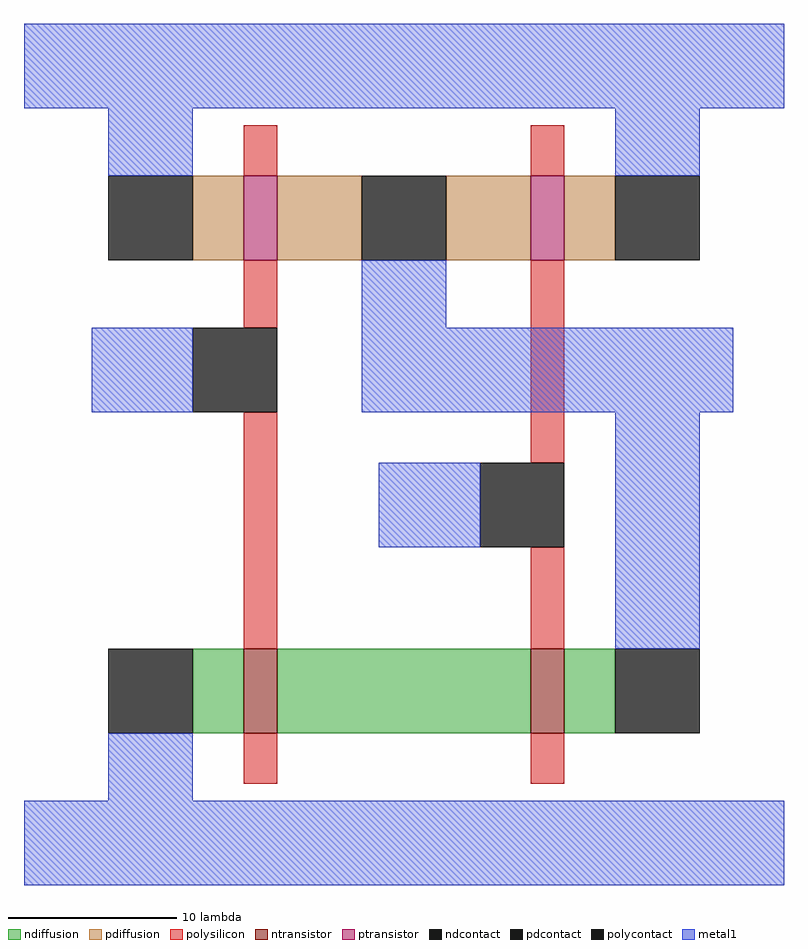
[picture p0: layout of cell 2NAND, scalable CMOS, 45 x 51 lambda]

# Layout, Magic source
magic
tech scmos
<< ntransistor >>
rect -6 -30 -4 -25
rect 11 -30 13 -25
<< ptransistor >>
rect -6 -2 -4 3
rect 11 -2 13 3
<< ndiffusion >>
rect -9 -30 -6 -25
rect -4 -30 11 -25
rect 13 -30 16 -25
<< pdiffusion >>
rect -9 -2 -6 3
rect -4 -2 1 3
rect 6 -2 11 3
rect 13 -2 16 3
<< ndcontact >>
rect -14 -30 -9 -25
rect 16 -30 21 -25
<< pdcontact >>
rect -14 -2 -9 3
rect 1 -2 6 3
rect 16 -2 21 3
<< polysilicon >>
rect -6 3 -4 6
rect 11 3 13 6
rect -6 -6 -4 -2
rect -6 -25 -4 -11
rect 11 -14 13 -2
rect 11 -25 13 -19
rect -6 -33 -4 -30
rect 11 -33 13 -30
<< polycontact >>
rect -9 -11 -4 -6
rect 8 -19 13 -14
<< metal1 >>
rect -19 7 26 12
rect -14 3 -9 7
rect 16 3 21 7
rect 1 -6 6 -2
rect -15 -11 -9 -6
rect 1 -11 23 -6
rect 2 -19 8 -14
rect 16 -25 21 -11
rect -14 -34 -9 -30
rect -19 -39 26 -34
<< end >>
